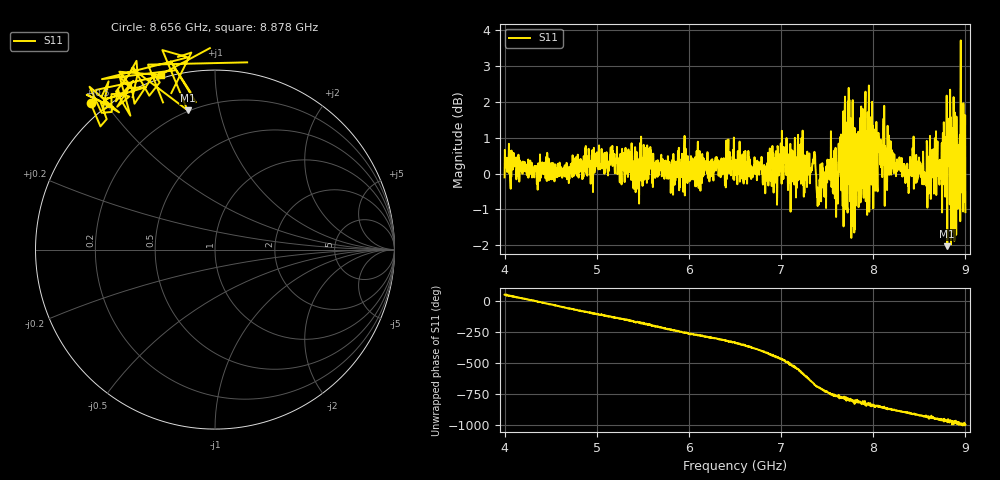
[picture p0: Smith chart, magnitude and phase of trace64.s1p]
! Created with skrf 1.8.0 (http://scikit-rf.org).
# Hz S RI R 50.0
!freq ReS11 ImS11
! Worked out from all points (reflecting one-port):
!   1601 points, 4 GHz to 9 GHz, reference 50 ohm
!   lowest |S11| = -2.0 dB at 8.803 GHz (marker M1), VSWR 8.60, Z = 9.65 + j40.2 ohm
!   phase of S11 starts at 50 deg and turns -1051 deg over the sweep
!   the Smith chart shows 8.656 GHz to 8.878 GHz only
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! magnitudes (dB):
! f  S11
! 4 GHz  -0.1
! 4.625 GHz  -0.1
! 5.166 GHz  0.6
! 5.25 GHz  -0.2
! 5.875 GHz  0.2
! 6.5 GHz  0.3
! 7.125 GHz  0.6
! 7.353 GHz  0.3
! 7.409 GHz  -0.9
! 7.519 GHz  0.0
! 7.622 GHz  0.3
! 7.669 GHz  -0.9
! 7.75 GHz  -0.8
! 7.784 GHz  -0.1
! 7.8 GHz  -1.6
! 7.872 GHz  1.2
! 7.891 GHz  0.9
! 7.981 GHz  -0.3
! 8.05 GHz  1.0
! 8.375 GHz  -0.1
! 8.425 GHz  0.7
! 8.553 GHz  -0.1
! 8.656 GHz  0.6
! 8.725 GHz  -0.1
! 8.803 GHz  -2.0
! 8.919 GHz  -0.4
! 8.972 GHz  0.5
! 9 GHz  -1.1
